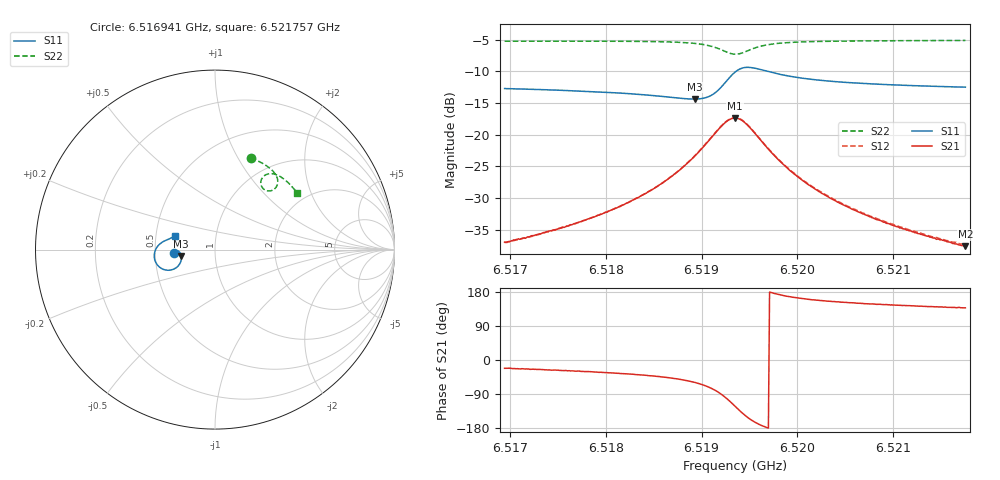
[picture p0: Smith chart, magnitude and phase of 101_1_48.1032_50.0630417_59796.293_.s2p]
#  HZ  S  RI  R  50.00
! Rohde & Schwarz Vector Network Analyzer
! Rohde-Schwarz,ZNB20-2Port,1311601062101988,3.16
! Created: UTC 12/23/2023, 3:44:45 AM
! freq[Hz]  re:S11  im:S11  re:S21  im:S21  re:S12  im:S12  re:S22  im:S22
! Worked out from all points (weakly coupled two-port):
!   401 points, 6.516941 GHz to 6.521757 GHz, reference 50 ohm
!   highest |S21| = -17.37 dB at 6.519349 GHz (marker M1); lowest = -37.6 dB at 6.521757 GHz (marker M2)
!   lowest |S11| = -14.4 dB at 6.518928 GHz (marker M3), VSWR 1.47, Z = 34.1 - j2.53 ohm
!   |S11| at or under -10 dB: start of sweep to 6.519358 GHz; 6.519693 GHz to end of sweep
!   |S22| runs from -7.3 to -5.1 dB; largest |S21 - S12| = 0.0041
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6.5169408e9  -0.2308 -0.0183  0.0131 -0.00527  0.0132 -0.00476  0.1993 0.5109
6.5171816e9  -0.2285 -0.0147  0.0142 -0.00627  0.0143 -0.00576  0.217 0.5037
6.5177475e9  -0.2209 -0.00753  0.0179 -0.0103  0.0182 -0.00971  0.2588 0.4837
6.5182051e9  -0.2119 -0.00525  0.023 -0.0168  0.0234 -0.0161  0.2933 0.4624
6.5185543e9  -0.2016 -0.00976  0.0288 -0.0275  0.0297 -0.0268  0.3203 0.4398
6.518747e9  -0.1944 -0.0181  0.0327 -0.0388  0.034 -0.038  0.3351 0.4218
6.5189276e9  -0.1878 -0.0357  0.0347 -0.0581  0.0367 -0.0574  0.3471 0.3973
6.519036e9  -0.1877 -0.0547  0.0315 -0.0766  0.0341 -0.0762  0.3496 0.3763
6.5191203e9  -0.1946 -0.0758  0.022 -0.0959  0.025 -0.096  0.3451 0.3561
6.5192528e9  -0.2366 -0.1113  -0.0209 -0.124  -0.0173 -0.1256  0.3127 0.3281
6.5193009e9  -0.264 -0.115  -0.0461 -0.1244  -0.0428 -0.1268  0.293 0.3271
6.5193491e9  -0.2932 -0.1076  -0.0714 -0.115  -0.0688 -0.1178  0.2737 0.3354
6.5193973e9  -0.3178 -0.0893  -0.0914 -0.0964  -0.0894 -0.0996  0.2602 0.3509
6.5194575e9  -0.3352 -0.0584  -0.1034 -0.0676  -0.1023 -0.0711  0.2548 0.3747
6.5195658e9  -0.3344 -0.00903  -0.0975 -0.0256  -0.0976 -0.0284  0.2692 0.4069
6.5196622e9  -0.3203 0.0176  -0.0823 -0.0051  -0.0829 -0.00743  0.2895 0.4196
6.519903e9  -0.2881 0.0446  -0.0525 0.0114  -0.0534 0.01  0.3306 0.4208
6.5201559e9  -0.2682 0.054  -0.0359 0.0139  -0.0368 0.0128  0.3594 0.4091
6.5205051e9  -0.2522 0.0607  -0.0242 0.0128  -0.0248 0.0123  0.3881 0.3896
6.5209627e9  -0.239 0.0676  -0.0163 0.0111  -0.0168 0.0107  0.4177 0.3628
6.5214323e9  -0.2297 0.0741  -0.0118 0.00978  -0.0122 0.00955  0.4433 0.3344
6.5217574e9  -0.2242 0.0785  -0.00969 0.00886  -0.0101 0.00879  0.459 0.3142
